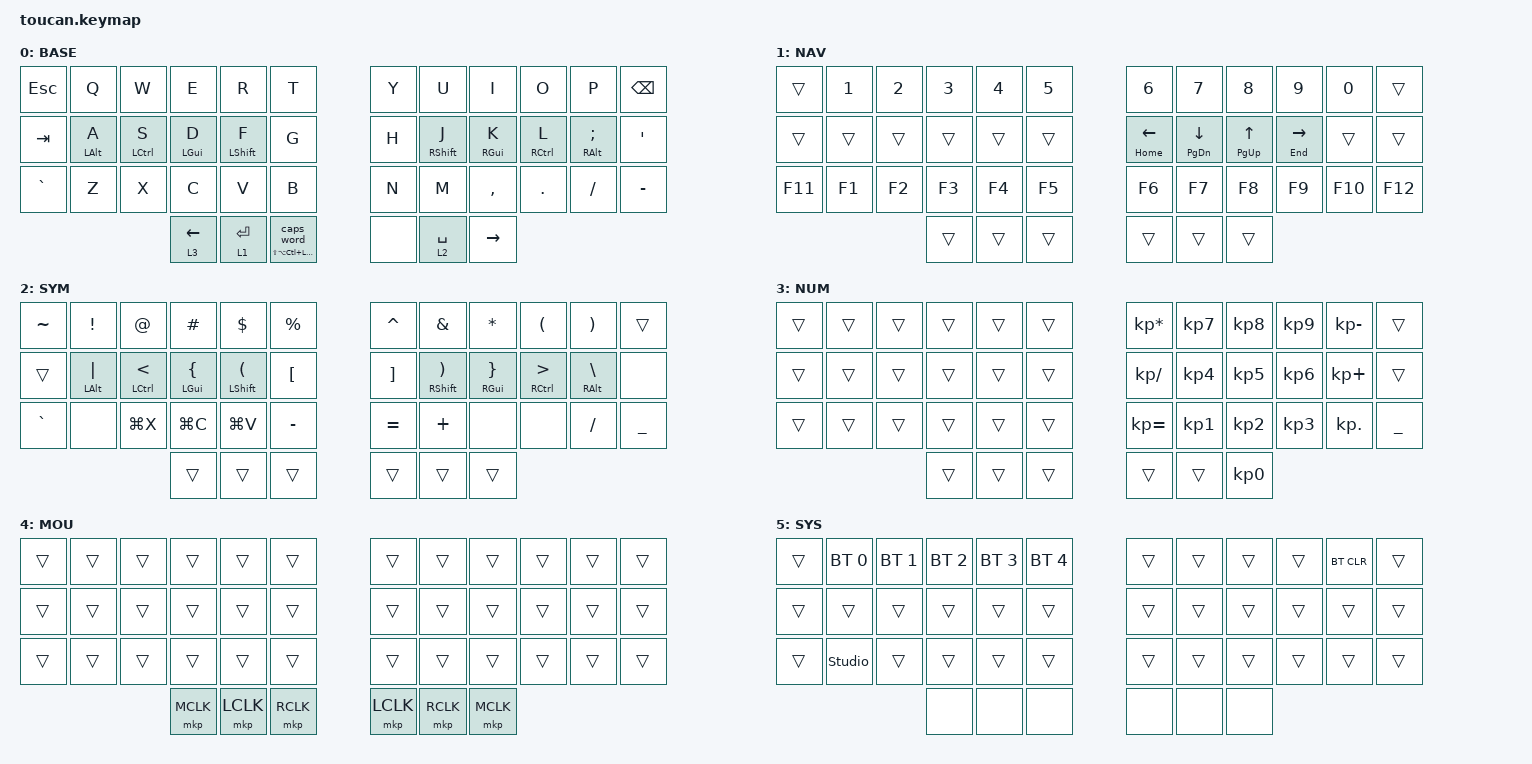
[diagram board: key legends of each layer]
#include <behaviors.dtsi>
#include <dt-bindings/zmk/bt.h>
#include <dt-bindings/zmk/keys.h>
#include <dt-bindings/zmk/pointing.h>

#define BASE 0
#define NAV  1
#define SYM  2
#define ADJ  3

/ {
    conditional_layers {
        compatible = "zmk,conditional-layers";

        tri_layer {
            if-layers = <1 2>;
            then-layer = <5>;
        };
    };

    behaviors {
        lhm: lhm {
            compatible = "zmk,behavior-hold-tap";
            label = "LHM";
            bindings = <&kp>, <&kp>;

            #binding-cells = <2>;
            tapping-term-ms = <200>;
            quick-tap-ms = <175>;
            require-prior-idle-ms = <150>;
            flavor = "balanced";
            hold-trigger-on-release;
            hold-trigger-key-positions = <36 37 38 6 7 8 9 10 11 18 19 20 21 22 23 30 31 32 33 34 35 38 39 40 41>;
        };

        rhm: rhm {
            compatible = "zmk,behavior-hold-tap";
            label = "RHM";
            bindings = <&kp>, <&kp>;

            #binding-cells = <2>;
            tapping-term-ms = <200>;
            quick-tap-ms = <175>;
            require-prior-idle-ms = <150>;
            flavor = "balanced";
            hold-trigger-on-release;
            hold-trigger-key-positions = <41 40 39 0 1 2 3 4 5 12 13 14 15 16 17 24 25 26 27 28 29 36 37 38>;
        };

        kp_hold_caps_word: kp_hold_caps_word {
            compatible = "zmk,behavior-hold-tap";
            label = "KP_HOLD_CAPS_WORD";
            bindings = <&kp>, <&caps_word>;

            #binding-cells = <2>;
            tapping-term-ms = <250>;
            quick-tap-ms = <175>;
            require-prior-idle-ms = <150>;
            flavor = "balanced";
        };
    };

    keymap {
        compatible = "zmk,keymap";

        base {
            display-name = "BASE";
            bindings = <
&kp ESC    &kp Q            &kp W                &kp E            &kp R              &kp T                                  &kp Y  &kp U               &kp I             &kp O                 &kp P                     &kp BSPC
&kp TAB    &lhm LEFT_ALT A  &lhm LEFT_CONTROL S  &lhm LEFT_GUI D  &lhm LEFT_SHIFT F  &kp G                                  &kp H  &rhm RIGHT_SHIFT J  &rhm RIGHT_GUI K  &rhm RIGHT_CONTROL L  &rhm RIGHT_ALT SEMICOLON  &kp SQT
&kp GRAVE  &kp Z            &kp X                &kp C            &kp V              &kp B                                  &kp N  &kp M               &kp COMMA         &kp DOT               &kp FSLH                  &kp MINUS
                                                 &lt 3 LEFT       &lt 1 ENTER        &kp_hold_caps_word LS(LA(LC(LGUI))) 0  &none  &lt 2 SPACE         &kp RIGHT
            >;
        };

        nav {
            display-name = "NAV";
            bindings = <
&trans   &kp N1  &kp N2  &kp N3  &kp N4  &kp N5  &kp N6          &kp N7               &kp N8           &kp N9          &kp N0   &trans
&trans   &trans  &trans  &trans  &trans  &trans  &rhm HOME LEFT  &rhm PAGE_DOWN DOWN  &rhm PAGE_UP UP  &rhm END RIGHT  &trans   &trans
&kp F11  &kp F1  &kp F2  &kp F3  &kp F4  &kp F5  &kp F6          &kp F7               &kp F8           &kp F9          &kp F10  &kp F12
                         &trans  &trans  &trans  &trans          &trans               &trans
            >;
        };

        sym {
            display-name = "SYM";
            bindings = <
&kp TILDE  &kp EXCL            &kp AT                       &kp HASH                  &kp DLLR                          &kp PRCNT         &kp CARET          &kp AMPS                            &kp STAR                    &kp LPAR                         &kp RPAR                  &trans
&trans     &lhm LEFT_ALT PIPE  &lhm LEFT_CONTROL LESS_THAN  &lhm LEFT_GUI LEFT_BRACE  &lhm LEFT_SHIFT LEFT_PARENTHESIS  &kp LEFT_BRACKET  &kp RIGHT_BRACKET  &rhm RIGHT_SHIFT RIGHT_PARENTHESIS  &rhm RIGHT_GUI RIGHT_BRACE  &rhm RIGHT_CONTROL GREATER_THAN  &rhm RIGHT_ALT BACKSLASH  &none
&kp GRAVE  &none               &kp LG(X)                    &kp LG(C)                 &kp LG(V)                         &kp MINUS         &kp EQUAL          &kp PLUS                            &none                       &none                            &kp SLASH                 &kp UNDER
                                                            &trans                    &trans                            &trans            &trans             &trans                              &trans
            >;
        };

        Numpad {
            bindings = <
&trans  &trans  &trans  &trans  &trans  &trans  &kp KP_ASTERISK  &kp KP_NUMBER_7  &kp KP_NUMBER_8  &kp KP_NUMBER_9  &kp KP_MINUS  &trans
&trans  &trans  &trans  &trans  &trans  &trans  &kp KP_DIVIDE    &kp KP_NUMBER_4  &kp KP_NUMBER_5  &kp KP_NUMBER_6  &kp KP_PLUS   &trans
&trans  &trans  &trans  &trans  &trans  &trans  &kp KP_EQUAL     &kp KP_NUMBER_1  &kp KP_NUMBER_2  &kp KP_NUMBER_3  &kp KP_DOT    &kp UNDER
                        &trans  &trans  &trans  &trans           &trans           &kp KP_NUMBER_0
            >;

            label = "NUM";
        };

        mouse {
            display-name = "MOU";
            bindings = <
&trans  &trans  &trans  &trans     &trans     &trans     &trans     &trans     &trans     &trans  &trans  &trans
&trans  &trans  &trans  &trans     &trans     &trans     &trans     &trans     &trans     &trans  &trans  &trans
&trans  &trans  &trans  &trans     &trans     &trans     &trans     &trans     &trans     &trans  &trans  &trans
                        &mkp MCLK  &mkp LCLK  &mkp RCLK  &mkp LCLK  &mkp RCLK  &mkp MCLK
            >;
        };

        system {
            bindings = <
&trans  &bt BT_SEL 0    &bt BT_SEL 1  &bt BT_SEL 2  &bt BT_SEL 3  &bt BT_SEL 4  &trans  &trans  &trans  &trans  &bt BT_CLR  &trans
&trans  &trans          &trans        &trans        &trans        &trans        &trans  &trans  &trans  &trans  &trans      &trans
&trans  &studio_unlock  &trans        &trans        &trans        &trans        &trans  &trans  &trans  &trans  &trans      &trans
                                      &none         &none         &none         &none   &none   &none
            >;

            label = "SYS";
        };
    };
};
